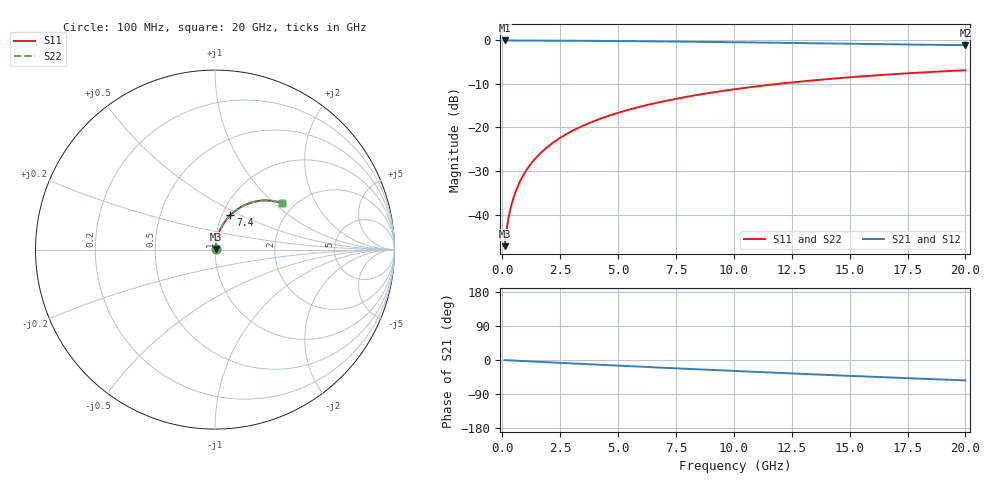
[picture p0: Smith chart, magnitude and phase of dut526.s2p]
! Touchstone file exported from HFSS 2026.1.0
!  File:  C:/ffzhzh/LocalFiles/Ansys_Project_Files/temp_train_TMRDL_526_1783007219_46388.aedt
!  Generated:  11:48:40 PM Jul  2, 2026
!  Design:  TMRDL
!  Project:  temp_train_TMRDL_526_1783007219_46388
! Variables:
!  h_bsmrdl = 2um
!  h_ox = 20um
!  h_rdl = 5um
!  h_sub = 80um
!  h_tmrdl = 5.04um
!  h_tsv = 80um
!  h_via = 3um
!  l_bsmrdl = 300um
!  l_sub = 1232.61um
!  l_tmrdl = 832.61um
!  m_sub = 200um
!  pitch = 51.68um
!  r_tsv = 6um
!  s_tmrdl = 10um
!  w_bsmrdl = 18um
!  w_sub = 500um
!  w_tmrdl = 22.39um
!  x_tsv_center1 = 843.805um
!  x_tsv_center2 = 1161.805um
!  x_tsv_center3 = 2016.805um
!  x_tsv_center4 = 2334.805um
!  x_tsv_center5 = 3189.805um
!  x_tsv_center6 = 3507.805um
# GHz S MA R 50.000000
! Terminal data exported
! Port[1] = TM_RDL1_1_T1
! Port[2] = TM_RDL1_1_T2
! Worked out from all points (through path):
!   200 points, 100 MHz to 20 GHz, reference 50 ohm
!   highest |S21| = -0.02 dB at 100 MHz (marker M1); lowest = -1.1 dB at 20 GHz (marker M2)
!   group delay of S21, straight-line fit = 7.48 ps
!   lowest |S11| = -47.3 dB at 100 MHz (marker M3), VSWR 1.01, Z = 50.3 + j0.332 ohm
!   |S11| at or under -10 dB: start of sweep to 11.92 GHz
!   |S22| runs from -47.3 to -6.9 dB; largest |S21 - S12| = 5.4e-15
!   S11 on the Smith chart (normalised r, x): 100 MHz: 1.01, +0.01; 7.4 GHz: 1.10, +0.44; 20 GHz: 1.73, +1.12
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0.1  0.004333 49.7  0.9972 -0.3  0.9972 -0.3  0.004333 49.7
! Gamma 0 0 0 0
! Port Impedance 50 0 50 0
0.2  0.007142 64.8  0.997 -0.6  0.997 -0.6  0.007142 64.8
0.3  0.01007 71.0  0.9968 -0.9  0.9968 -0.9  0.01007 71.0
0.4  0.01302 74.3  0.9967 -1.2  0.9967 -1.2  0.01302 74.3
0.5  0.01599 76.5  0.9966 -1.5  0.9966 -1.5  0.01599 76.5
0.7  0.02198 78.8  0.9963 -2.1  0.9963 -2.1  0.02198 78.8
0.8  0.02499 79.5  0.9962 -2.4  0.9962 -2.4  0.02499 79.5
1  0.03102 80.2  0.9959 -3.0  0.9959 -3.0  0.03102 80.2
1.2  0.03706 80.5  0.9956 -3.6  0.9956 -3.6  0.03706 80.5
1.4  0.04309 80.6  0.9952 -4.3  0.9952 -4.3  0.04309 80.6
1.7  0.05211 80.3  0.9946 -5.2  0.9946 -5.2  0.05211 80.3
2  0.06108 79.9  0.9938 -6.1  0.9938 -6.1  0.06108 79.9
2.7  0.08179 78.4  0.9917 -8.1  0.9917 -8.1  0.08179 78.4
3.5  0.105 76.3  0.9887 -10.5  0.9887 -10.5  0.105 76.3
4.2  0.1249 74.5  0.9857 -12.6  0.9857 -12.6  0.1249 74.5
5  0.1471 72.3  0.982 -14.9  0.982 -14.9  0.1471 72.3
6.8  0.1953 67.5  0.9723 -20.0  0.9723 -20.0  0.1953 67.5
7.4  0.2107 65.9  0.9687 -21.7  0.9687 -21.7  0.2107 65.9
10.1  0.2762 58.8  0.951 -29.1  0.951 -29.1  0.2761 58.8
13.4  0.3465 50.4  0.927 -37.8  0.927 -37.8  0.3465 50.4
16.7  0.4057 42.4  0.9024 -46.0  0.9024 -46.0  0.4057 42.4
20  0.4539 34.7  0.8792 -53.8  0.8792 -53.8  0.4538 34.7
